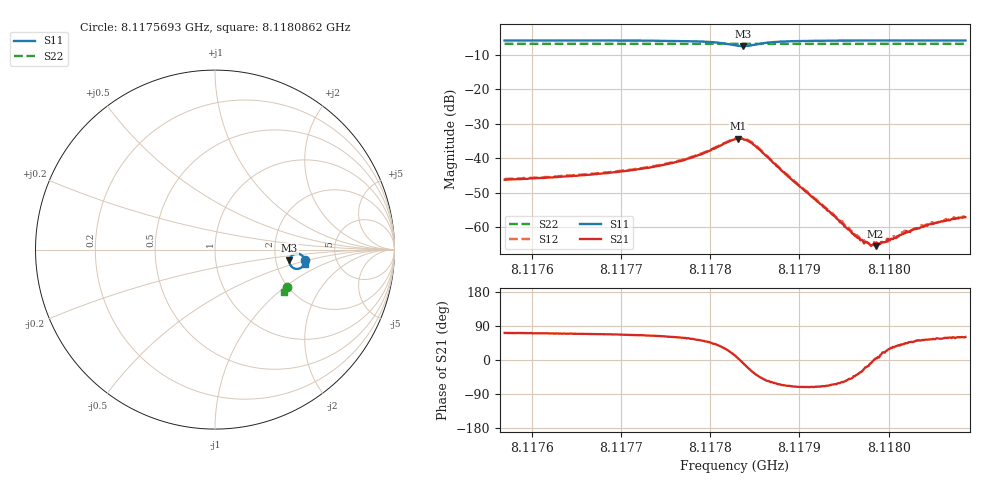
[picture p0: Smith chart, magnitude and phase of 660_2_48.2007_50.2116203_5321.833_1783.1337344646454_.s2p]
#  HZ  S  RI  R  50.00
! Rohde & Schwarz Vector Network Analyzer
! Rohde-Schwarz,ZNB20-2Port,1311601062101988,3.16
! Created: UTC 3/20/2024, 12:05:41 PM
! freq[Hz]  re:S11  im:S11  re:S21  im:S21  re:S12  im:S12  re:S22  im:S22
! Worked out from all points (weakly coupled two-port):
!   401 points, 8.1175693 GHz to 8.1180862 GHz, reference 50 ohm
!   highest |S21| = -34.39 dB at 8.1178316 GHz (marker M1); lowest = -65.5 dB at 8.1179854 GHz (marker M2)
!   lowest |S11| = -7.6 dB at 8.1178368 GHz (marker M3), VSWR 2.44, Z = 119 - j17.1 ohm
!   |S11| at or under -10 dB: nowhere
!   |S22| runs from -6.9 to -6.9 dB; largest |S21 - S12| = 0.00066
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8.11756931e9  0.503 -0.0606  0.00155 0.00461  0.00163 0.00467  0.4033 -0.2058
8.11765589e9  0.5008 -0.0708  0.00201 0.00525  0.00209 0.00541  0.4005 -0.2115
8.11770628e9  0.4984 -0.0785  0.0026 0.00602  0.00267 0.00612  0.3989 -0.2149
8.11774246e9  0.4944 -0.0861  0.00348 0.00689  0.00357 0.00702  0.3975 -0.2171
8.11777993e9  0.4842 -0.0978  0.00577 0.00854  0.00598 0.00863  0.3958 -0.2197
8.11781224e9  0.4525 -0.1073  0.0125 0.00885  0.0128 0.00915  0.3935 -0.2218
8.11782774e9  0.4214 -0.0886  0.0183 0.00392  0.0187 0.00388  0.392 -0.2216
8.11783162e9  0.416 -0.0773  0.019 0.00115  0.0194 0.00126  0.3918 -0.2211
8.11783679e9  0.4146 -0.0592  0.0188 -0.00268  0.0192 -0.00277  0.3915 -0.2206
8.11784325e9  0.4234 -0.0385  0.016 -0.00679  0.0167 -0.00692  0.3921 -0.2203
8.117851e9  0.4424 -0.0249  0.0117 -0.00918  0.0121 -0.00928  0.3929 -0.2204
8.11787555e9  0.4836 -0.0316  0.00333 -0.00667  0.00351 -0.00689  0.3938 -0.2226
8.11791432e9  0.498 -0.052  0.000893 -0.00258  0.000901 -0.00266  0.3931 -0.2259
8.117966e9  0.5007 -0.0657  0.000561 -0.000419  0.000577 -0.000467  0.3913 -0.2296
8.11798022e9  0.5009 -0.0684  0.000529 -7.85e-05  0.000556 -8.67e-05  0.3909 -0.2306
8.11798539e9  0.5007 -0.0692  0.000528 3.81e-05  0.000544 1.11e-05  0.3906 -0.2309
8.11800089e9  0.5007 -0.0717  0.000578 0.00032  0.000547 0.000305  0.3902 -0.2319
8.11800994e9  0.5006 -0.0731  0.000583 0.000451  0.00057 0.000429  0.3898 -0.2324
8.1180164e9  0.5006 -0.074  0.000592 0.000533  0.000596 0.000566  0.3896 -0.2329
8.11803578e9  0.5005 -0.0766  0.000625 0.000771  0.000653 0.000799  0.389 -0.2343
8.11805775e9  0.5003 -0.0793  0.000661 0.000987  0.000696 0.00101  0.3883 -0.2356
8.11808617e9  0.4999 -0.0823  0.00068 0.00121  0.000754 0.0012  0.3872 -0.2374
